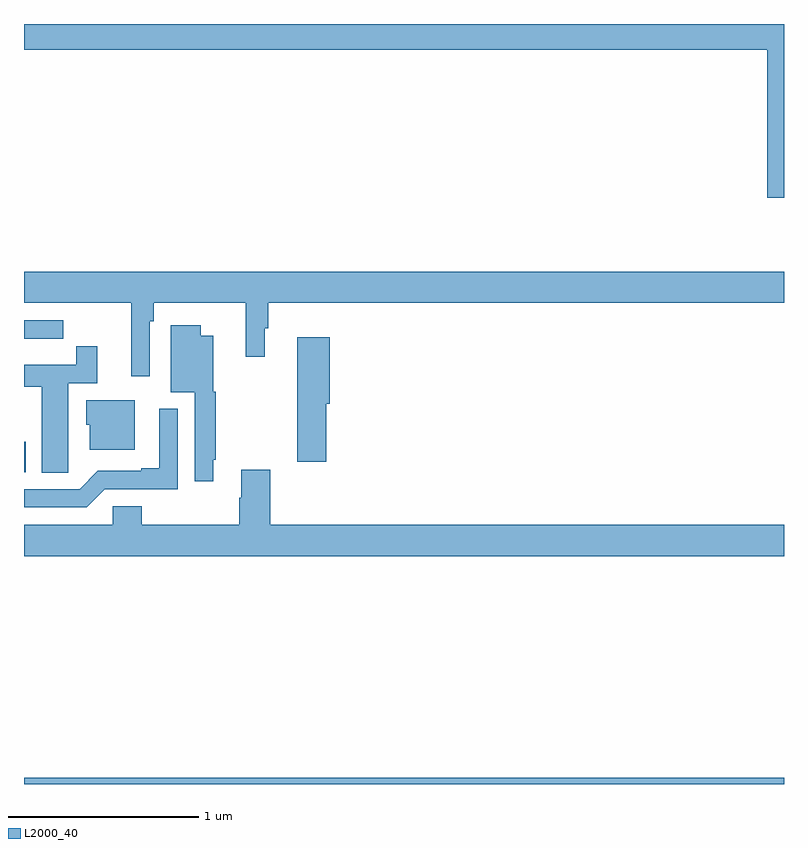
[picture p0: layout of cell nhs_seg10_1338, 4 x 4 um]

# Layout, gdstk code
import gdstk
lib = gdstk.Library(unit=1e-6, precision=1e-09)
def R(c, l, rs):  # rectangles x0, y0, x1, y1
    for r in rs: c.add(gdstk.rectangle(r[:2], r[2:], *l))
def P(c, l, *ps):  # polygons
    for p in ps: c.add(gdstk.Polygon(p, *l))
L2000_40 = (2000, 40)

nhs_seg10_1338 = lib.new_cell('nhs_seg10_1338')
R(nhs_seg10_1338, L2000_40, [(181,1248.5,185,1248.532), (181,1250.141,181.009,1250.301)])
P(nhs_seg10_1338, L2000_40, [(185,1252.5),(181,1252.5),(181,1252.364),(184.913,1252.364),(184.913,1251.585),(185,1251.585)],
  [(181.662,1250.936),(181.682,1250.936),(181.682,1251.032),(182.167,1251.032),(182.167,1250.748),(182.266,1250.748),(182.266,1250.898),(182.285,1250.898),(182.285,1251.032),(185,1251.032),(185,1251.196),(181,1251.196),(181,1251.032),(181.565,1251.032),(181.565,1250.646),(181.662,1250.646)],
  [(181.094,1250.844),(181.207,1250.844),(181.207,1250.94),(181,1250.94),(181,1250.843),(181.094,1250.843)],
  [(181.996,1250.206),(182.008,1250.206),(182.008,1250.565),(181.996,1250.565),(181.996,1250.86),(181.93,1250.86),(181.93,1250.914),(181.772,1250.914),(181.772,1250.561),(181.899,1250.561),(181.899,1250.094),(181.996,1250.094)],
  [(182.591,1250.502),(182.609,1250.502),(182.609,1250.851),(182.438,1250.851),(182.438,1250.502),(182.437,1250.502),(182.437,1250.196),(182.591,1250.196)],
  [(181.233,1250.248),(181.234,1250.248),(181.234,1250.61),(181.385,1250.61),(181.385,1250.803),(181.276,1250.803),(181.276,1250.706),(181,1250.706),(181,1250.59),(181.094,1250.59),(181.094,1250.137),(181.233,1250.137)],
  [(181.582,1250.521),(181.328,1250.521),(181.328,1250.391),(181.346,1250.391),(181.346,1250.258),(181.582,1250.258)],
  [(181.425,1250.052),(181.809,1250.052),(181.809,1250.476),(181.712,1250.476),(181.712,1250.161),(181.616,1250.161),(181.616,1250.148),(181.389,1250.148),(181.293,1250.052),(181,1250.052),(181,1249.956),(181.329,1249.956)],
  [(185,1249.864),(182.297,1249.864),(182.297,1250.155),(182.144,1250.155),(182.144,1250.006),(182.132,1250.006),(182.132,1249.864),(181.619,1249.864),(181.619,1249.962),(181.467,1249.962),(181.467,1249.864),(181,1249.864),(181,1249.7),(185,1249.7)])

lib.write_gds('nhs_seg10_1338.gds')
